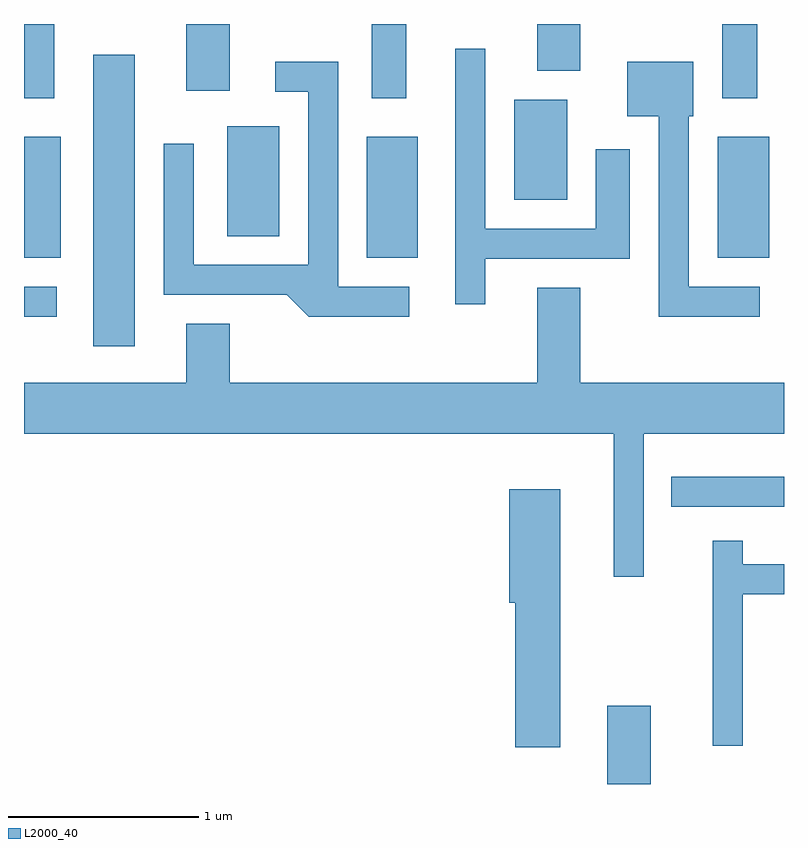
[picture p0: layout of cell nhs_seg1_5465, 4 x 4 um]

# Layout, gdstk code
import gdstk
lib = gdstk.Library(unit=1e-6, precision=1e-09)
def R(c, l, rs):  # rectangles x0, y0, x1, y1
    for r in rs: c.add(gdstk.rectangle(r[:2], r[2:], *l))
def P(c, l, *ps):  # polygons
    for p in ps: c.add(gdstk.Polygon(p, *l))
L2000_40 = (2000, 40)

nhs_seg1_5465 = lib.new_cell('nhs_seg1_5465')
R(nhs_seg1_5465, L2000_40, [(352.681,917.712,352.909,918.124), (353.018,919.171,353.611,919.329), (349.976,920.016,350.194,921.549), (349.611,920.171,349.783,920.329), (349.611,920.481,349.804,921.119), (351.416,920.481,351.684,921.119), (353.261,920.481,353.534,921.119), (350.681,920.596,350.954,921.174), (352.191,920.786,352.469,921.314), (349.611,921.321,349.769,921.712), (351.441,921.321,351.624,921.712), (353.286,921.321,353.469,921.712), (350.466,921.361,350.694,921.712), (352.311,921.466,352.539,921.712)])
P(nhs_seg1_5465, L2000_40, [(352.039,920.476),(352.799,920.476),(352.799,921.054),(352.621,921.054),(352.621,920.634),(352.039,920.634),(352.039,921.583),(351.881,921.583),(351.881,920.238),(352.039,920.238)],
  [(351.638,920.329),(351.264,920.329),(351.264,921.514),(350.933,921.514),(350.933,921.356),(351.106,921.356),(351.106,920.444),(350.504,920.444),(350.504,921.083),(350.346,921.083),(350.346,920.286),(350.994,920.286),(351.109,920.171),(351.638,920.171)],
  [(353.483,920.329),(353.109,920.329),(353.109,921.226),(353.134,921.226),(353.134,921.514),(352.786,921.514),(352.786,921.226),(352.951,921.226),(352.951,920.171),(353.483,920.171)],
  [(352.874,919.556),(353.611,919.556),(353.611,919.824),(352.539,919.824),(352.539,920.324),(352.311,920.324),(352.311,919.824),(350.694,919.824),(350.694,920.134),(350.466,920.134),(350.466,919.824),(349.611,919.824),(349.611,919.556),(352.716,919.556),(352.716,918.803),(352.874,918.803)],
  [(352.434,919.264),(352.166,919.264),(352.166,918.666),(352.196,918.666),(352.196,917.906),(352.434,917.906)],
  [(353.394,918.711),(353.611,918.711),(353.611,918.869),(353.394,918.869),(353.394,918.993),(353.236,918.993),(353.236,917.913),(353.394,917.913)])

lib.write_gds('nhs_seg1_5465.gds')
